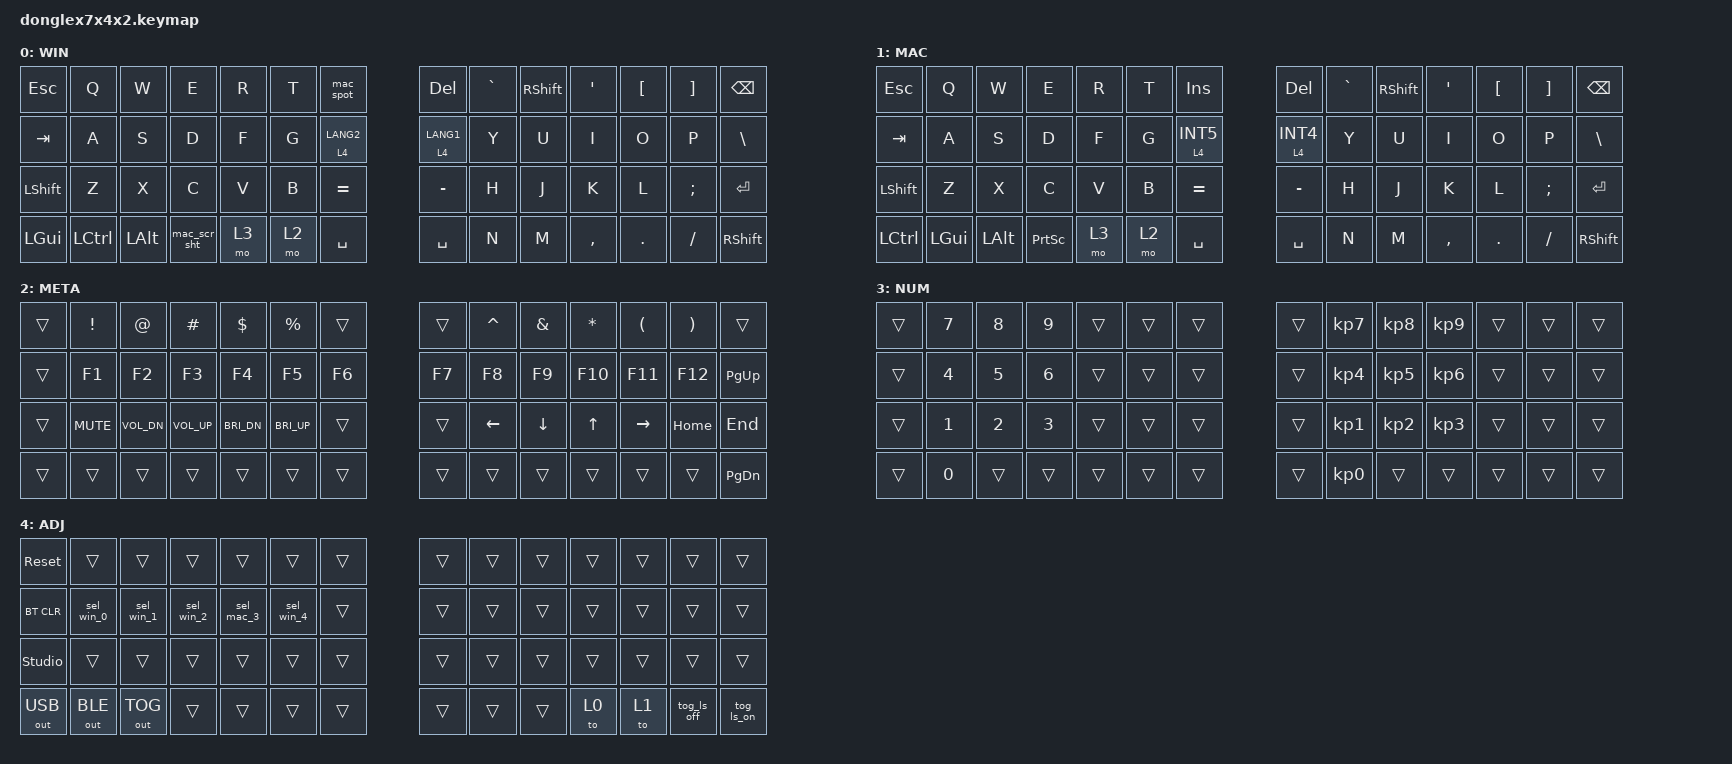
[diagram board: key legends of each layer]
#include <behaviors.dtsi>
#include <dt-bindings/zmk/keys.h>
#include <dt-bindings/zmk/bt.h>    // Bluetooth操作に必要
#include <dt-bindings/zmk/outputs.h>

// #include <layout_shift.dtsi>    // JIS zmk-layout-shift
#include <layout_shift.dtsi>    // JIS zmk-layout-shift
#include <layout_shift_kp_override.dtsi>    // JIS zmk-layout-shift

/ {
    macros {
        sel_win_0: sel_win_0 {
            compatible = "zmk,behavior-macro";
            #binding-cells = <0>;
            bindings = <&bt BT_SEL 0>, <&to 1>;
        };
        sel_win_1: sel_win_1 {
            compatible = "zmk,behavior-macro";
            #binding-cells = <0>;
            bindings = <&bt BT_SEL 1>, <&to 1>;
        };
        sel_win_2: sel_win_2 {
            compatible = "zmk,behavior-macro";
            #binding-cells = <0>;
            bindings = <&bt BT_SEL 2>, <&to 1>;
        };
        sel_mac_3: sel_mac_3 {
            compatible = "zmk,behavior-macro";
            #binding-cells = <0>;
            bindings = <&bt BT_SEL 3>, <&to 0>;
        };
        sel_win_4: sel_win_4 {
            compatible = "zmk,behavior-macro";
            #binding-cells = <0>;
            bindings = <&bt BT_SEL 4>, <&to 1>;
        };
        mac_spot: mac_spot {
            compatible = "zmk,behavior-macro";
            #binding-cells = <0>;
            bindings = <&kp LA(SPACE)>;
        };
        mac_scr_sht: mac_scr_sht {
            compatible = "zmk,behavior-macro";
            #binding-cells = <0>;
            bindings = <&kp LS(LG(N5))>;
        };
    };

    keymap {
        compatible = "zmk,keymap";

        // Layer 0: Mac Base Layer
        default_mac {
            display-name = "WIN";
            bindings = <
//  L01          L02          L03          L04          L05          L06          L07          R01          R02          R03          R04          R05          R06          R07
    &kp ESC      &kp Q        &kp W        &kp E        &kp R        &kp T        &mac_spot    &kp DEL      &kp GRAVE    &kp RSHFT    &kp SQT      &kp LBKT     &kp RBKT     &kp BSPC
    &kp TAB      &kp A        &kp S        &kp D        &kp F        &kp G        &lt 4 LANG2  &lt 4 LANG1  &kp Y        &kp U        &kp I        &kp O        &kp P        &kp BSLH
    &kp LSHFT    &kp Z        &kp X        &kp C        &kp V        &kp B        &kp EQUAL    &kp MINUS    &kp H        &kp J        &kp K        &kp L        &kp SEMI     &kp RET
    &kp LGUI     &kp LCTRL    &kp LALT     &mac_scr_sht &mo 3        &mo 2        &kp SPACE    &kp SPACE    &kp N        &kp M        &kp COMMA    &kp DOT      &kp FSLH     &kp RSHFT
            >;
        };

        // Layer 1: Win Base Layer
        default_win {
            display-name = "MAC";
            bindings = <
//  L01          L02          L03          L04          L05          L06          L07          R01          R02          R03          R04          R05          R06          R07
    &kp ESC      &kp Q        &kp W        &kp E        &kp R        &kp T        &kp INS      &kp DEL      &kp GRAVE    &kp RSHFT    &kp SQT      &kp LBKT     &kp RBKT     &kp BSPC
    &kp TAB      &kp A        &kp S        &kp D        &kp F        &kp G        &lt 4 INT5   &lt 4 INT4   &kp Y        &kp U        &kp I        &kp O        &kp P        &kp BSLH
    &kp LSHFT    &kp Z        &kp X        &kp C        &kp V        &kp B        &kp EQUAL    &kp MINUS    &kp H        &kp J        &kp K        &kp L        &kp SEMI     &kp RET
    &kp LCTRL    &kp LGUI     &kp LALT     &kp PSCRN    &mo 3        &mo 2        &kp SPACE    &kp SPACE    &kp N        &kp M        &kp COMMA    &kp DOT      &kp FSLH     &kp RSHFT
            >;
        };

        // Layer 2: META (Symbols & Function keys)
        layer_meta {
            display-name = "META";
            bindings = <
//  L01          L02          L03          L04          L05          L06          L07          R01          R02          R03          R04          R05          R06          R07
    &trans       &kp EXCL     &kp AT       &kp HASH     &kp DLLR     &kp PRCNT    &trans       &trans       &kp CARET    &kp AMPS     &kp STAR     &kp LPAR     &kp RPAR     &trans
    &trans       &kp F1       &kp F2       &kp F3       &kp F4       &kp F5       &kp F6       &kp F7       &kp F8       &kp F9       &kp F10      &kp F11      &kp F12      &kp PG_UP
    &trans       &kp C_MUTE   &kp C_VOL_DN &kp C_VOL_UP &kp C_BRI_DN &kp C_BRI_UP &trans       &trans       &kp LEFT     &kp DOWN     &kp UP       &kp RIGHT    &kp HOME     &kp END
    &trans       &trans       &trans       &trans       &trans       &trans       &trans       &trans       &trans       &trans       &trans       &trans       &trans       &kp PG_DN
            >;
        };

        // Layer 3: NUM (Numpad)
        layer_num {
            display-name = "NUM";
            bindings = <
//  L01          L02          L03          L04          L05          L06          L07          R01          R02          R03          R04          R05          R06          R07
    &trans       &kp N7       &kp N8       &kp N9       &trans       &trans       &trans       &trans       &kp KP_N7    &kp KP_N8    &kp KP_N9    &trans       &trans       &trans
    &trans       &kp N4       &kp N5       &kp N6       &trans       &trans       &trans       &trans       &kp KP_N4    &kp KP_N5    &kp KP_N6    &trans       &trans       &trans
    &trans       &kp N1       &kp N2       &kp N3       &trans       &trans       &trans       &trans       &kp KP_N1    &kp KP_N2    &kp KP_N3    &trans       &trans       &trans
    &trans       &kp N0       &trans       &trans       &trans       &trans       &trans       &trans       &kp KP_N0    &trans       &trans       &trans       &trans       &trans
            >;
        };

        // Layer 4: ADJ (System / Custom)
        layer_adj {
            display-name = "ADJ";
            bindings = <
//  L01          L02          L03          L04          L05          L06          L07          R01          R02          R03          R04          R05          R06          R07
    &sys_reset   &trans       &trans       &trans       &trans       &trans       &trans       &trans       &trans       &trans       &trans       &trans       &trans       &trans
    &bt BT_CLR   &sel_win_0   &sel_win_1   &sel_win_2   &sel_mac_3   &sel_win_4   &trans       &trans       &trans       &trans       &trans       &trans       &trans       &trans
    &studio_unlock &trans     &trans       &trans       &trans       &trans       &trans       &trans       &trans       &trans       &trans       &trans       &trans       &trans
    &out OUT_USB &out OUT_BLE &out OUT_TOG &trans       &trans       &trans       &trans       &trans       &trans       &trans       &to 0        &to 1        &tog_ls_off  &tog_ls_on
            >;
        };
    };
};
